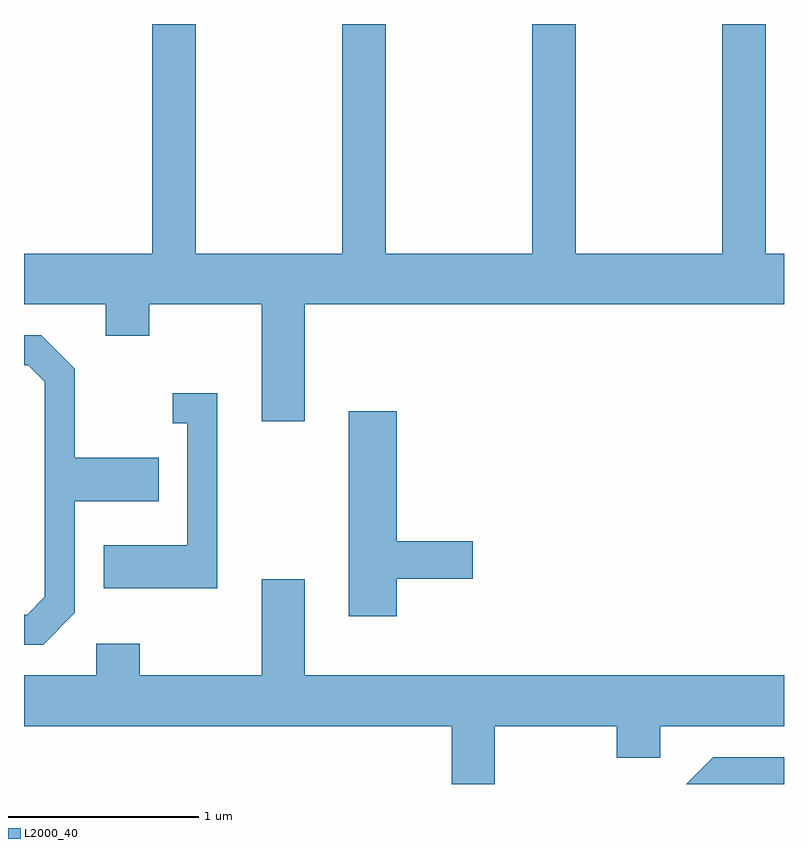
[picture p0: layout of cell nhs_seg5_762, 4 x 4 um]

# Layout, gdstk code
import gdstk
lib = gdstk.Library(unit=1e-6, precision=1e-09)
def P(c, l, *ps):  # polygons
    for p in ps: c.add(gdstk.Polygon(p, *l))
L2000_40 = (2000, 40)

nhs_seg5_762 = lib.new_cell('nhs_seg5_762')
P(nhs_seg5_762, L2000_40, [(209.089,1434.596),(211.611,1434.596),(211.611,1434.864),(211.514,1434.864),(211.514,1436.072),(211.286,1436.072),(211.286,1434.864),(210.514,1434.864),(210.514,1436.072),(210.286,1436.072),(210.286,1434.864),(209.514,1434.864),(209.514,1436.072),(209.286,1436.072),(209.286,1434.864),(208.514,1434.864),(208.514,1436.072),(208.286,1436.072),(208.286,1434.864),(207.611,1434.864),(207.611,1434.596),(208.041,1434.596),(208.041,1434.431),(208.269,1434.431),(208.269,1434.596),(208.861,1434.596),(208.861,1433.981),(209.089,1433.981)],
  [(207.879,1432.974),(207.879,1433.561),(208.319,1433.561),(208.319,1433.789),(207.879,1433.789),(207.879,1434.257),(207.702,1434.434),(207.611,1434.434),(207.611,1434.276),(207.634,1434.276),(207.721,1434.189),(207.721,1433.057),(207.629,1432.964),(207.611,1432.964),(207.611,1432.806),(207.712,1432.806)],
  [(208.629,1434.129),(208.393,1434.129),(208.393,1433.971),(208.471,1433.971),(208.471,1433.329),(208.031,1433.329),(208.031,1433.101),(208.629,1433.101)],
  [(209.574,1433.151),(209.974,1433.151),(209.974,1433.349),(209.574,1433.349),(209.574,1434.034),(209.321,1434.034),(209.321,1432.956),(209.574,1432.956)],
  [(210.089,1432.376),(210.731,1432.376),(210.731,1432.211),(210.959,1432.211),(210.959,1432.376),(211.611,1432.376),(211.611,1432.644),(209.089,1432.644),(209.089,1433.149),(208.861,1433.149),(208.861,1432.644),(208.219,1432.644),(208.219,1432.809),(207.991,1432.809),(207.991,1432.644),(207.611,1432.644),(207.611,1432.376),(209.861,1432.376),(209.861,1432.072),(210.089,1432.072)],
  [(211.611,1432.214),(211.239,1432.214),(211.096,1432.072),(211.611,1432.072)])

lib.write_gds('nhs_seg5_762.gds')
